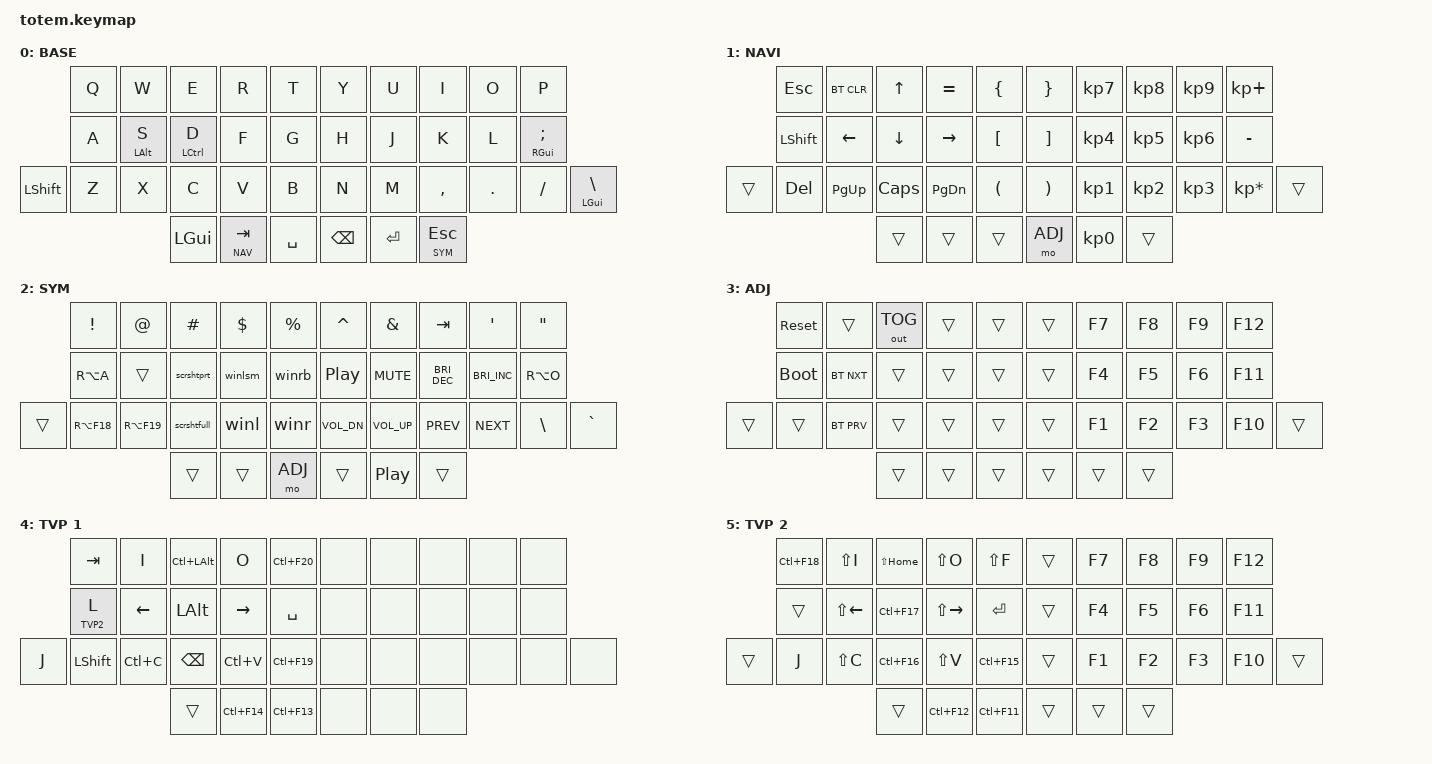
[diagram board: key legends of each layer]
// version 1
//
//                                                        ▀▀▀▀▀     ▀▀▀▀▀          ▀▀█▀▀
//                                                        ▄▀▀▀▄  ▄  ▄▀▀▀▄  ▄  ▄▀▀▀▄  █  ▄▀▀▀▄
//                                                        █   █  █  █   █  █  █   █  █  █   █
//                                                         ▀▀▀   █   ▀▀▀   █   ▀▀▀   ▀   ▀▀▀
//                                                               █      ▄▄▄█▄▄▄    █   █  
//                                                               ▀      █  █  █     █▄█
//                                                             ▀▀▀▀▀    █  █  █      ▀
//                                                                      ▀  ▀  ▀
//
// ▄▄▄▄▄▄▄▄▄▄▄▄▄▄▄▄▄▄▄▄▄▄▄▄▄▄▄▄▄▄▄▄▄▄▄▄▄▄▄▄▄▄▄▄▄▄▄▄▄▄▄▄▄▄▄▄▄▄▄▄▄▄▄▄▄▄▄▄▄▄▄▄▄▄▄▄▄▄▄▄▄▄▄▄▄▄▄▄▄▄▄▄▄▄▄▄▄▄▄▄▄▄▄▄▄▄▄▄▄▄▄▄▄▄▄▄▄▄▄▄▄▄▄▄▄▄▄▄▄▄▄▄▄▄▄▄▄▄▄▄▄▄▄▄▄▄▄▄▄
       

#include <behaviors.dtsi>
#include <dt-bindings/zmk/keys.h>
#include <dt-bindings/zmk/bt.h>
#include <dt-bindings/zmk/outputs.h>

#define BASE 0
#define NAV  1
#define SYM  2
#define ADJ  3
#define TVP1 4
#define TVP2 5
#define VIM  6

&mt {
  quick-tap-ms = <100>;
  global-quick-tap;
  flavor = "tap-preferred";
  tapping-term-ms = <120>;
};



/ {
     combos {
            compatible = "zmk,combos";
            combo_esc {
                timeout-ms = <50>;
                key-positions = <0 1>;
                bindings = <&kp ESC>;
            };
            combo_tvp {
                timeout-ms = <100>;
                key-positions = <11 12 13>;
                bindings = <&tog TVP1>;
            };
    };

    macros {
        gif: gif {
            label = "giphy";
            compatible = "zmk,behavior-macro";
            #binding-cells = <0>;
            bindings
                = <&macro_press &kp LSHFT>
                , <&macro_tap &kp N2>
                , <&macro_release &kp LSHFT>
                , <&macro_tap &kp G &kp I &kp F>
                ;
        };
        winl: winl {
                // window left half
                label = "winl";
                compatible = "zmk,behavior-macro";
                #binding-cells = <0>;
                bindings
                        = <&macro_press &kp LCTRL>
                        , <&macro_press &kp LALT>
                        , <&macro_tap &kp LEFT>
                        , <&macro_release &kp LCTRL>
                        , <&macro_release &kp LALT>
                        ;
        };
        winr: winr {
                // window left half
                label = "win";
                compatible = "zmk,behavior-macro";
                #binding-cells = <0>;
                bindings
                        = <&macro_press &kp LCTRL>
                        , <&macro_press &kp LALT>
                        , <&macro_tap &kp RIGHT>
                        , <&macro_release &kp LCTRL>
                        , <&macro_release &kp LALT>
                        ;
        };
        winlsm: winlsm {
                // window left half
                label = "winlsm";
                compatible = "zmk,behavior-macro";
                #binding-cells = <0>;
                bindings
                        = <&macro_press &kp LCTRL>
                        , <&macro_press &kp LALT>
                        , <&macro_tap &kp COMMA>
                        , <&macro_release &kp LCTRL>
                        , <&macro_release &kp LALT>
                        ;
        };
        winrb: winrb {
                // window left half
                label = "winrb";
                compatible = "zmk,behavior-macro";
                #binding-cells = <0>;
                bindings
                        = <&macro_press &kp LCTRL>
                        , <&macro_press &kp LALT>
                        , <&macro_tap &kp PERIOD>
                        , <&macro_release &kp LCTRL>
                        , <&macro_release &kp LALT>
                        ;
        };
        scrshtfull: scrshtfull {
                // screenshot full
                label = "scrshtfull";
                compatible = "zmk,behavior-macro";
                #binding-cells = <0>;
                bindings
                        = <&macro_press &kp LCMD>
                        , <&macro_press &kp LSHFT>
                        , <&macro_tap &kp KP_N3>
                        , <&macro_release &kp LCMD>
                        , <&macro_release &kp LSHFT>
                        ;
        };
        scrshtprt: scrshtprt {
                // screenshot full
                label = "scrshtprt";
                compatible = "zmk,behavior-macro";
                #binding-cells = <0>;
                bindings
                        = <&macro_press &kp LCMD>
                        , <&macro_press &kp LSHFT>
                        , <&macro_tap &kp KP_N4>
                        , <&macro_release &kp LCMD>
                        , <&macro_release &kp LSHFT>
                        ;
        };
  };

        keymap {
                compatible = "zmk,keymap";
// ▄▄▄▄▄▄▄▄▄▄▄▄▄▄▄▄▄▄▄▄▄▄▄▄▄▄▄▄▄▄▄▄▄▄▄▄▄▄▄▄▄▄▄▄▄▄▄▄▄▄▄▄▄▄▄▄▄▄▄▄▄▄▄▄▄▄▄▄▄▄▄▄▄▄▄▄▄▄▄▄▄▄▄▄▄▄▄▄▄▄▄▄▄▄▄▄▄▄▄▄▄▄▄▄▄▄▄▄▄▄▄▄▄▄▄▄▄▄▄▄▄▄▄▄▄▄▄▄▄▄▄▄▄▄▄▄▄▄▄▄▄▄▄▄▄▄▄▄▄

                base_layer {
label= "BASE"                              ;
// ┗━━━━━━━━━━━━━━━━━━━━━━━━━━━━━━━━━━━━━━━┛
//             ┏━━━━━━━━━━━┳━━━━━━━━━━━┳━━━━━━━━━━━┳━━━━━━━━━━━┳━━━━━━━━━━━┓   ┏━━━━━━━━━━━┳━━━━━━━━━━━┳━━━━━━━━━━━┳━━━━━━━━━━━┳━━━━━━━━━━━┓
//             ┃     Q     ┃     W     ┃     F     ┃     P     ┃     G     ┃   ┃     J     ┃     L     ┃     U     ┃     Y     ┃     ;     ┃
//             ┣━━━━━━━━━━━╋━━━━━━━━━━━╋━━━━━━━━━━━╋━━━━━━━━━━━╋━━━━━━━━━━━┫   ┣━━━━━━━━━━━╋━━━━━━━━━━━╋━━━━━━━━━━━╋━━━━━━━━━━━╋━━━━━━━━━━━┫
//             ┃     A     ┃     R     ┃     S     ┃     T     ┃     D     ┃   ┃     H     ┃     N     ┃     E     ┃     I     ┃     O     ┃
// ┏━━━━━━━━━━━╋━━━━━━━━━━━╋━━━━━━━━━━━╋━━━━━━━━━━━╋━━━━━━━━━━━╋━━━━━━━━━━━┫   ┣━━━━━━━━━━━╋━━━━━━━━━━━╋━━━━━━━━━━━╋━━━━━━━━━━━╋━━━━━━━━━━━╋━━━━━━━━━━━┓
// ┃     Q     ┃     Z     ┃     X     ┃     C     ┃     V     ┃     B     ┃   ┃     K     ┃     M     ┃     ,     ┃     .     ┃     /     ┃     \     ┃
// ┗━━━━━━━━━━━┻━━━━━━━━━━━┻━━━━━━━━━━━╋━━━━━━━━━━━╋━━━━━━━━━━━╋━━━━━━━━━━━┫   ┣━━━━━━━━━━━╋━━━━━━━━━━━╋━━━━━━━━━━━╋━━━━━━━━━━━┻━━━━━━━━━━━┻━━━━━━━━━━━┛
//                                     ┃    DEL    ┃    TAB    ┃    SPC    ┃   ┃   ENTER   ┃           ┃   BSPC    ┃
//                                     ┗━━━━━━━━━━━┻━━━━━━━━━━━┻━━━━━━━━━━━┛   ┗━━━━━━━━━━━┻━━━━━━━━━━━┻━━━━━━━━━━━┛
 bindings = <
// ╷           ╷           ╷           ╷           ╷           ╷           ╷   ╷           ╷           ╷           ╷           ╷           ╷           ╷

                &kp Q       &kp W       &kp E       &kp R       &kp T           &kp Y       &kp U       &kp I       &kp O       &kp P 
                &kp  A  &mt LALT S  &mt LCTRL D &kp F &kp G           &kp H       &kp J &kp K &kp L  &mt RGUI SEMI
    &kp LSHFT      &kp Z       &kp X       &kp C       &kp V       &kp B           &kp N       &kp M       &kp COMMA   &kp DOT     &kp FSLH    &mt LGUI BSLH
                                        &kp LGUI   &lt NAV TAB   &kp SPACE       &kp BSPC    &kp RET   &lt SYM ESC 
                        >;
                };

// ▄▄▄▄▄▄▄▄▄▄▄▄▄▄▄▄▄▄▄▄▄▄▄▄▄▄▄▄▄▄▄▄▄▄▄▄▄▄▄▄▄▄▄▄▄▄▄▄▄▄▄▄▄▄▄▄▄▄▄▄▄▄▄▄▄▄▄▄▄▄▄▄▄▄▄▄▄▄▄▄▄▄▄▄▄▄▄▄▄▄▄▄▄▄▄▄▄▄▄▄▄▄▄▄▄▄▄▄▄▄▄▄▄▄▄▄▄▄▄▄▄▄▄▄▄▄▄▄▄▄▄▄▄▄▄▄▄▄▄▄▄▄▄▄▄▄▄▄▄

// ▄▄▄▄▄▄▄▄▄▄▄▄▄▄▄▄▄▄▄▄▄▄▄▄▄▄▄▄▄▄▄▄▄▄▄▄▄▄▄▄▄▄▄▄▄▄▄▄▄▄▄▄▄▄▄▄▄▄▄▄▄▄▄▄▄▄▄▄▄▄▄▄▄▄▄▄▄▄▄▄▄▄▄▄▄▄▄▄▄▄▄▄▄▄▄▄▄▄▄▄▄▄▄▄▄▄▄▄▄▄▄▄▄▄▄▄▄▄▄▄▄▄▄▄▄▄▄▄▄▄▄▄▄▄▄▄▄▄▄▄▄▄▄▄▄▄▄▄▄


                nav_layer {
// ┏━━━━━━━━━━━━━━━━━━━━━━━━━━━━━━━━━━━━━━━┓
label= "NAVI"                              ;
// ┗━━━━━━━━━━━━━━━━━━━━━━━━━━━━━━━━━━━━━━━┛
//             ┏━━━━━━━━━━━┳━━━━━━━━━━━┳━━━━━━━━━━━┳━━━━━━━━━━━┳━━━━━━━━━━━┓   ┏━━━━━━━━━━━┳━━━━━━━━━━━┳━━━━━━━━━━━┳━━━━━━━━━━━┳━━━━━━━━━━━┓
//             ┃           ┃           ┃     UP    ┃           ┃     {     ┃   ┃     }     ┃     7     ┃     8     ┃     9     ┃     +     ┃
//             ┣━━━━━━━━━━━╋━━━━━━━━━━━╋━━━━━━━━━━━╋━━━━━━━━━━━╋━━━━━━━━━━━┫   ┣━━━━━━━━━━━╋━━━━━━━━━━━╋━━━━━━━━━━━╋━━━━━━━━━━━╋━━━━━━━━━━━┫
//             ┃   SHIFT   ┃   LEFT    ┃    DOWN   ┃   RIGHT   ┃     [     ┃   ┃     ]     ┃     4     ┃     5     ┃     6     ┃     -     ┃
// ┏━━━━━━━━━━━╋━━━━━━━━━━━╋━━━━━━━━━━━╋━━━━━━━━━━━╋━━━━━━━━━━━╋━━━━━━━━━━━┫   ┣━━━━━━━━━━━╋━━━━━━━━━━━╋━━━━━━━━━━━╋━━━━━━━━━━━╋━━━━━━━━━━━╋━━━━━━━━━━━┓
// ┃           ┃           ┃   P UP    ┃  C LOCK   ┃  P DOWN   ┃     (     ┃   ┃     )     ┃     1     ┃     2     ┃     3     ┃     *     ┃           ┃
// ┗━━━━━━━━━━━┻━━━━━━━━━━━┻━━━━━━━━━━━╋━━━━━━━━━━━╋━━━━━━━━━━━╋━━━━━━━━━━━┫   ┣━━━━━━━━━━━╋━━━━━━━━━━━╋━━━━━━━━━━━╋━━━━━━━━━━━┻━━━━━━━━━━━┻━━━━━━━━━━━┛
//                                     ┃           ┃    TAB    ┃    SPC    ┃   ┃    DEL    ┃     0     ┃           ┃
//                                     ┗━━━━━━━━━━━┻━━━━━━━━━━━┻━━━━━━━━━━━┛   ┗━━━━━━━━━━━┻━━━━━━━━━━━┻━━━━━━━━━━━┛
 bindings = <
// ╷           ╷           ╷           ╷           ╷           ╷           ╷   ╷           ╷           ╷           ╷           ╷           ╷           ╷

                &kp ESC     &bt BT_CLR  &kp UP      &kp EQUAL   &kp LBRC        &kp RBRC    &kp KP_N7   &kp KP_N8   &kp KP_N9   &kp KP_PLUS
                &kp LSHFT   &kp LEFT    &kp DOWN    &kp RIGHT   &kp LBKT        &kp RBKT    &kp KP_N4   &kp KP_N5   &kp KP_N6   &kp MINUS
    &trans      &kp DEL     &kp PG_UP   &kp CAPS    &kp PG_DN   &kp LPAR        &kp RPAR    &kp KP_N1   &kp KP_N2   &kp KP_N3   &kp KP_MULTIPLY &trans      
                                        &trans      &trans      &trans          &mo ADJ     &kp KP_N0   &trans      
                        >;
                };

// ▄▄▄▄▄▄▄▄▄▄▄▄▄▄▄▄▄▄▄▄▄▄▄▄▄▄▄▄▄▄▄▄▄▄▄▄▄▄▄▄▄▄▄▄▄▄▄▄▄▄▄▄▄▄▄▄▄▄▄▄▄▄▄▄▄▄▄▄▄▄▄▄▄▄▄▄▄▄▄▄▄▄▄▄▄▄▄▄▄▄▄▄▄▄▄▄▄▄▄▄▄▄▄▄▄▄▄▄▄▄▄▄▄▄▄▄▄▄▄▄▄▄▄▄▄▄▄▄▄▄▄▄▄▄▄▄▄▄▄▄▄▄▄▄▄▄▄▄▄


                sim_layer {
// ┏━━━━━━━━━━━━━━━━━━━━━━━━━━━━━━━━━━━━━━━┓
label= "SYM"                               ;
// ┗━━━━━━━━━━━━━━━━━━━━━━━━━━━━━━━━━━━━━━━┛
//             ┏━━━━━━━━━━━┳━━━━━━━━━━━┳━━━━━━━━━━━┳━━━━━━━━━━━┳━━━━━━━━━━━┓   ┏━━━━━━━━━━━┳━━━━━━━━━━━┳━━━━━━━━━━━┳━━━━━━━━━━━┳━━━━━━━━━━━┓
//             ┃     !     ┃     @     ┃     #     ┃     $     ┃     %     ┃   ┃     ˆ     ┃     &     ┃     Ü     ┃     '     ┃     "     ┃
//             ┣━━━━━━━━━━━╋━━━━━━━━━━━╋━━━━━━━━━━━╋━━━━━━━━━━━╋━━━━━━━━━━━┫   ┣━━━━━━━━━━━╋━━━━━━━━━━━╋━━━━━━━━━━━╋━━━━━━━━━━━╋━━━━━━━━━━━┫
//             ┃     Ä     ┃           ┃    SZ     ┃           ┃           ┃   ┃   PlPa    ┃   MUTE    ┃   Bri +   ┃  Bri -    ┃     Ö     ┃
// ┏━━━━━━━━━━━╋━━━━━━━━━━━╋━━━━━━━━━━━╋━━━━━━━━━━━╋━━━━━━━━━━━╋━━━━━━━━━━━┫   ┣━━━━━━━━━━━╋━━━━━━━━━━━╋━━━━━━━━━━━╋━━━━━━━━━━━╋━━━━━━━━━━━╋━━━━━━━━━━━┓
// ┃           ┃  EMAIL1   ┃  EMAIL2   ┃           ┃           ┃           ┃   ┃   VOL-    ┃   VOL+    ┃   LAST    ┃   NEXT    ┃     \     ┃           ┃
// ┗━━━━━━━━━━━┻━━━━━━━━━━━┻━━━━━━━━━━━╋━━━━━━━━━━━╋━━━━━━━━━━━╋━━━━━━━━━━━┫   ┣━━━━━━━━━━━╋━━━━━━━━━━━╋━━━━━━━━━━━╋━━━━━━━━━━━┻━━━━━━━━━━━┻━━━━━━━━━━━┛
//                                     ┃           ┃    GIF    ┃    ADJ    ┃   ┃           ┃           ┃           ┃
//                                     ┗━━━━━━━━━━━┻━━━━━━━━━━━┻━━━━━━━━━━━┛   ┗━━━━━━━━━━━┻━━━━━━━━━━━┻━━━━━━━━━━━┛
 bindings = <
// ╷           ╷           ╷           ╷           ╷           ╷           ╷   ╷           ╷           ╷           ╷           ╷           ╷           ╷

                &kp EXCL    &kp AT      &kp HASH    &kp DLLR    &kp PRCNT       &kp CARET   &kp AMPS    &kp TAB   &kp SQT     &kp DQT       
                &kp RA(A)   &trans      &scrshtprt   &winlsm     &winrb          &kp C_PLAY_PAUSE  &kp C_MUTE &kp C_BRIGHTNESS_DEC &kp C_BRIGHTNESS_INC   &kp RA(O) 
    &trans      &kp RA(F18) &kp RA(F19) &scrshtfull      &winl       &winr          &kp C_VOL_DN &kp C_VOL_UP &kp C_PREV &kp C_NEXT  &kp BSLH   &kp GRAVE         
                                        &trans      &trans        &mo ADJ         &trans      &kp C_PP    &trans      
                        >;
                };

// ▄▄▄▄▄▄▄▄▄▄▄▄▄▄▄▄▄▄▄▄▄▄▄▄▄▄▄▄▄▄▄▄▄▄▄▄▄▄▄▄▄▄▄▄▄▄▄▄▄▄▄▄▄▄▄▄▄▄▄▄▄▄▄▄▄▄▄▄▄▄▄▄▄▄▄▄▄▄▄▄▄▄▄▄▄▄▄▄▄▄▄▄▄▄▄▄▄▄▄▄▄▄▄▄▄▄▄▄▄▄▄▄▄▄▄▄▄▄▄▄▄▄▄▄▄▄▄▄▄▄▄▄▄▄▄▄▄▄▄▄▄▄▄▄▄▄▄▄


                adjust_layer {
// ┏━━━━━━━━━━━━━━━━━━━━━━━━━━━━━━━━━━━━━━━┓
label= "ADJ"                               ;
// ┗━━━━━━━━━━━━━━━━━━━━━━━━━━━━━━━━━━━━━━━┛
//             ┏━━━━━━━━━━━┳━━━━━━━━━━━┳━━━━━━━━━━━┳━━━━━━━━━━━┳━━━━━━━━━━━┓   ┏━━━━━━━━━━━┳━━━━━━━━━━━┳━━━━━━━━━━━┳━━━━━━━━━━━┳━━━━━━━━━━━┓
//             ┃   RESET   ┃           ┃  OUT TOG  ┃           ┃           ┃   ┃           ┃    F7     ┃    F8     ┃    F9     ┃    F12    ┃
//             ┣━━━━━━━━━━━╋━━━━━━━━━━━╋━━━━━━━━━━━╋━━━━━━━━━━━╋━━━━━━━━━━━┫   ┣━━━━━━━━━━━╋━━━━━━━━━━━╋━━━━━━━━━━━╋━━━━━━━━━━━╋━━━━━━━━━━━┫
//             ┃ BOOTLOAD  ┃ BT NEXT   ┃           ┃           ┃           ┃   ┃           ┃    F4     ┃    F5     ┃    F6     ┃    F11    ┃
// ┏━━━━━━━━━━━╋━━━━━━━━━━━╋━━━━━━━━━━━╋━━━━━━━━━━━╋━━━━━━━━━━━╋━━━━━━━━━━━┫   ┣━━━━━━━━━━━╋━━━━━━━━━━━╋━━━━━━━━━━━╋━━━━━━━━━━━╋━━━━━━━━━━━╋━━━━━━━━━━━┓
// ┃           ┃           ┃ BT PREV   ┃           ┃           ┃           ┃   ┃           ┃    F1     ┃    F2     ┃    F3     ┃    F10    ┃           ┃
// ┗━━━━━━━━━━━┻━━━━━━━━━━━┻━━━━━━━━━━━╋━━━━━━━━━━━╋━━━━━━━━━━━╋━━━━━━━━━━━┫   ┣━━━━━━━━━━━╋━━━━━━━━━━━╋━━━━━━━━━━━╋━━━━━━━━━━━┻━━━━━━━━━━━┻━━━━━━━━━━━┛
//                                     ┃           ┃           ┃           ┃   ┃           ┃           ┃           ┃
//                                     ┗━━━━━━━━━━━┻━━━━━━━━━━━┻━━━━━━━━━━━┛   ┗━━━━━━━━━━━┻━━━━━━━━━━━┻━━━━━━━━━━━┛
 bindings = <
// ╷           ╷           ╷           ╷           ╷           ╷           ╷   ╷           ╷           ╷           ╷           ╷           ╷           ╷

                &sys_reset  &trans &out OUT_TOG &trans      &trans          &trans      &kp F7      &kp F8      &kp F9      &kp F12
                &bootloader &bt BT_NXT  &trans      &trans      &trans          &trans      &kp F4      &kp F5      &kp F6      &kp F11  
    &trans      &trans      &bt BT_PRV  &trans      &trans      &trans          &trans      &kp F1      &kp F2      &kp F3      &kp F10     &trans         
                                        &trans      &trans      &trans          &trans      &trans      &trans      
                        >;
                };

// ▄▄▄▄▄▄▄▄▄▄▄▄▄▄▄▄▄▄▄▄▄▄▄▄▄▄▄▄▄▄▄▄▄▄▄▄▄▄▄▄▄▄▄▄▄▄▄▄▄▄▄▄▄▄▄▄▄▄▄▄▄▄▄▄▄▄▄▄▄▄▄▄▄▄▄▄▄▄▄▄▄▄▄▄▄▄▄▄▄▄▄▄▄▄▄▄▄▄▄▄▄▄▄▄▄▄▄▄▄▄▄▄▄▄▄▄▄▄▄▄▄▄▄▄▄▄▄▄▄▄▄▄▄▄▄▄▄▄▄▄▄▄▄▄▄▄▄▄▄


                tvp1_layer {
// ┏━━━━━━━━━━━━━━━━━━━━━━━━━━━━━━━━━━━━━━━┓
label= "TVP 1"                             ;
// ┗━━━━━━━━━━━━━━━━━━━━━━━━━━━━━━━━━━━━━━━┛
//             ┏━━━━━━━━━━━┳━━━━━━━━━━━┳━━━━━━━━━━━┳━━━━━━━━━━━┳━━━━━━━━━━━┓   ┏━━━━━━━━━━━┳━━━━━━━━━━━┳━━━━━━━━━━━┳━━━━━━━━━━━┳━━━━━━━━━━━┓
//             ┃ NEXT FILE ┃ MARK IN   ┃ ROTATE    ┃ MARK OUT  ┃ SHOW SNAP ┃   ┃           ┃           ┃           ┃           ┃           ┃
//             ┣━━━━━━━━━━━╋━━━━━━━━━━━╋━━━━━━━━━━━╋━━━━━━━━━━━╋━━━━━━━━━━━┫   ┣━━━━━━━━━━━╋━━━━━━━━━━━╋━━━━━━━━━━━╋━━━━━━━━━━━╋━━━━━━━━━━━┫
//             ┃ TVP II    ┃ LEFT      ┃ PAN       ┃ RIGHT     ┃ PLAY/FLIP ┃   ┃           ┃           ┃           ┃           ┃           ┃
// ┏━━━━━━━━━━━╋━━━━━━━━━━━╋━━━━━━━━━━━╋━━━━━━━━━━━╋━━━━━━━━━━━╋━━━━━━━━━━━┫   ┣━━━━━━━━━━━╋━━━━━━━━━━━╋━━━━━━━━━━━╋━━━━━━━━━━━╋━━━━━━━━━━━╋━━━━━━━━━━━┓
// ┃ FULLSCR   ┃ SHIFT     ┃ COPY      ┃ DELETE    ┃ PASTE     ┃ IMG MARK  ┃   ┃           ┃           ┃           ┃           ┃           ┃           ┃
// ┗━━━━━━━━━━━┻━━━━━━━━━━━┻━━━━━━━━━━━╋━━━━━━━━━━━╋━━━━━━━━━━━╋━━━━━━━━━━━┫   ┣━━━━━━━━━━━╋━━━━━━━━━━━╋━━━━━━━━━━━╋━━━━━━━━━━━┻━━━━━━━━━━━┻━━━━━━━━━━━┛
//                                     ┃           ┃ UNDO/SAVE ┃  SEL/MOV  ┃   ┃           ┃           ┃           ┃
//                                     ┗━━━━━━━━━━━┻━━━━━━━━━━━┻━━━━━━━━━━━┛   ┗━━━━━━━━━━━┻━━━━━━━━━━━┻━━━━━━━━━━━┛
 bindings = <
// ╷           ╷           ╷           ╷           ╷           ╷           ╷   ╷           ╷           ╷           ╷           ╷           ╷           ╷

                &kp TAB     &kp I       &kp LC(LALT) &kp O      &kp LC(F20)     &none       &none       &none       &none       &none
                &lt TVP2 L  &kp LEFT    &kp LALT    &kp RIGHT   &kp SPACE       &none       &none       &none       &none       &none
    &kp J       &kp LSHFT   &kp LC(C)   &kp BSPC    &kp LC(V)   &kp LC(F19)     &none       &none       &none       &none       &none       &none        
                                        &trans      &kp LC(F14) &kp LC(F13)     &none       &none       &none    
                        >;
                };

// ▄▄▄▄▄▄▄▄▄▄▄▄▄▄▄▄▄▄▄▄▄▄▄▄▄▄▄▄▄▄▄▄▄▄▄▄▄▄▄▄▄▄▄▄▄▄▄▄▄▄▄▄▄▄▄▄▄▄▄▄▄▄▄▄▄▄▄▄▄▄▄▄▄▄▄▄▄▄▄▄▄▄▄▄▄▄▄▄▄▄▄▄▄▄▄▄▄▄▄▄▄▄▄▄▄▄▄▄▄▄▄▄▄▄▄▄▄▄▄▄▄▄▄▄▄▄▄▄▄▄▄▄▄▄▄▄▄▄▄▄▄▄▄▄▄▄▄▄▄


                tvp2_layer {
// ┏━━━━━━━━━━━━━━━━━━━━━━━━━━━━━━━━━━━━━━━┓
label= "TVP 2"                             ;
// ┗━━━━━━━━━━━━━━━━━━━━━━━━━━━━━━━━━━━━━━━┛
//             ┏━━━━━━━━━━━┳━━━━━━━━━━━┳━━━━━━━━━━━┳━━━━━━━━━━━┳━━━━━━━━━━━┓   ┏━━━━━━━━━━━┳━━━━━━━━━━━┳━━━━━━━━━━━┳━━━━━━━━━━━┳━━━━━━━━━━━┓
//             ┃ SOLO      ┃ TOGGLE IN ┃ RESET ROT ┃ TOGGLE OUT┃ TAKE SNAP ┃   ┃           ┃           ┃           ┃           ┃           ┃
//             ┣━━━━━━━━━━━╋━━━━━━━━━━━╋━━━━━━━━━━━╋━━━━━━━━━━━╋━━━━━━━━━━━┫   ┣━━━━━━━━━━━╋━━━━━━━━━━━╋━━━━━━━━━━━╋━━━━━━━━━━━╋━━━━━━━━━━━┫
//             ┃ ---       ┃ LAST KEY  ┃ NEW KEY   ┃ NEXT KEY  ┃ ENTER     ┃   ┃           ┃           ┃           ┃           ┃           ┃
// ┏━━━━━━━━━━━╋━━━━━━━━━━━╋━━━━━━━━━━━╋━━━━━━━━━━━╋━━━━━━━━━━━╋━━━━━━━━━━━┫   ┣━━━━━━━━━━━╋━━━━━━━━━━━╋━━━━━━━━━━━╋━━━━━━━━━━━╋━━━━━━━━━━━╋━━━━━━━━━━━┓
// ┃           ┃ FULLSCR   ┃ CPY2BRUSH ┃ DEL HEAD  ┃ PSTinPLACE┃ BOOK MARK ┃   ┃           ┃           ┃           ┃           ┃           ┃           ┃
// ┗━━━━━━━━━━━┻━━━━━━━━━━━┻━━━━━━━━━━━╋━━━━━━━━━━━╋━━━━━━━━━━━╋━━━━━━━━━━━┫   ┣━━━━━━━━━━━╋━━━━━━━━━━━╋━━━━━━━━━━━╋━━━━━━━━━━━┻━━━━━━━━━━━┻━━━━━━━━━━━┛
//                                     ┃           ┃ REDO/SAV1 ┃TRANS/WARP ┃   ┃           ┃           ┃           ┃
//                                     ┗━━━━━━━━━━━┻━━━━━━━━━━━┻━━━━━━━━━━━┛   ┗━━━━━━━━━━━┻━━━━━━━━━━━┻━━━━━━━━━━━┛
 bindings = <
// ╷           ╷           ╷           ╷           ╷           ╷           ╷   ╷           ╷           ╷           ╷           ╷           ╷           ╷

                &kp LC(F18) &kp LS(I)  &kp LS(HOME) &kp LS(O)   &kp LS(F)       &trans      &kp F7      &kp F8      &kp F9      &kp F12
                &trans      &kp LS(LEFT) &kp LC(F17) &kp LS(RIGHT) &kp RET      &trans      &kp F4      &kp F5      &kp F6      &kp F11  
    &trans      &kp J       &kp LS(C)   &kp LC(F16) &kp LS(V)   &kp LC(F15)     &trans      &kp F1      &kp F2      &kp F3      &kp F10     &trans         
                                        &trans      &kp LC(F12) &kp LC(F11)     &trans      &trans      &trans      
                        >;
                };
        };

// ▄▄▄▄▄▄▄▄▄▄▄▄▄▄▄▄▄▄▄▄▄▄▄▄▄▄▄▄▄▄▄▄▄▄▄▄▄▄▄▄▄▄▄▄▄▄▄▄▄▄▄▄▄▄▄▄▄▄▄▄▄▄▄▄▄▄▄▄▄▄▄▄▄▄▄▄▄▄▄▄▄▄▄▄▄▄▄▄▄▄▄▄▄▄▄▄▄▄▄▄▄▄▄▄▄▄▄▄▄▄▄▄▄▄▄▄▄▄▄▄▄▄▄▄▄▄▄▄▄▄▄▄▄▄▄▄▄▄▄▄▄▄▄▄▄▄▄▄▄

                vim_layer {
label= "VIM"                               ;

 bindings = <

                &none       &none       &none       &none       &none            &none         &none       &none       &none       &none 
                &none       &none       &trans       &trans       &trans            &kp LEFT      &kp DOWN    &kp UP      &kp RIGHT   &none 
    &kp LSHFT      &kp Z       &kp X       &kp C       &kp V       &kp B           &kp N       &kp M       &kp COMMA   &kp DOT     &kp FSLH    &kp BSLH
                                        &kp LGUI   &lt NAV TAB   &kp SPACE       &kp BSPC   &lt SYM ESC   &kp RET
                        >;
                };
};
